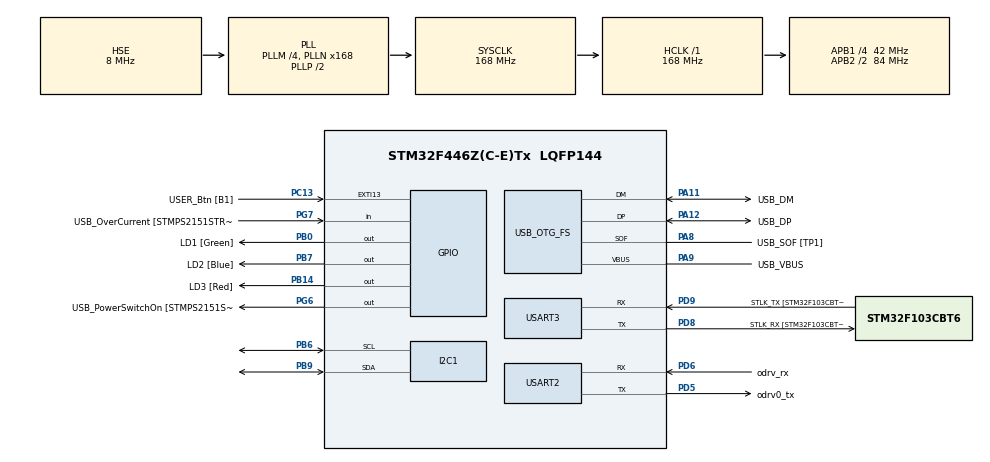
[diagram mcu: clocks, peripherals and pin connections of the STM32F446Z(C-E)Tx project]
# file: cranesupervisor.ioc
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Mcu.Family=STM32F4
NVIC.USART3_IRQn=true\:5\:0\:false\:false\:true\:true\:true\:true
PH0-OSC_IN.Signal=RCC_OSC_IN
Dma.USART3_RX.1.Mode=DMA_CIRCULAR
RCC.CortexFreq_Value=168000000
PG6.Signal=GPIO_Output
NVIC.I2C1_EV_IRQn=true\:5\:0\:false\:false\:true\:true\:true\:true
PB14.GPIO_Label=LD3 [Red]
PG6.GPIO_Label=USB_PowerSwitchOn [STMPS2151STR_EN]
PA14.GPIO_Label=TCK
RCC.SYSCLKSourceVirtual=RCC_SYSCLKSOURCE_PLLCLK
PA11.Mode=Device_Only
PB0.GPIO_Label=LD1 [Green]
PC13.GPIO_Label=USER_Btn [B1]
PD6.GPIO_Label=odrv_rx
PD9.Mode=Asynchronous
RCC.SYSCLKSource=RCC_SYSCLKSOURCE_PLLCLK
ProjectManager.StackSize=0x400
VP_FREERTOS_VS_CMSIS_V2.Mode=CMSIS_V2
PA12.Signal=USB_OTG_FS_DP
Dma.USART3_RX.1.MemInc=DMA_MINC_ENABLE
Dma.USART3_RX.1.Instance=DMA1_Stream1
RCC.HCLKFreq_Value=168000000
RCC.APB2TimFreq_Value=168000000
PB6.Signal=I2C1_SCL
Dma.USART3_RX.1.PeriphDataAlignment=DMA_PDATAALIGN_BYTE
PB6.Mode=I2C
PD8.Signal=USART3_TX
RCC.AHBFreq_Value=168000000
PH0-OSC_IN.Mode=HSE-External-Clock-Source
PH0-OSC_IN.GPIO_Label=MCO [STM32F103CBT6_PA8]
PD5.Mode=Asynchronous
RCC.HSE_VALUE=8000000
FREERTOS.configUSE_TIMERS=1
RCC.PLLMUL=RCC_PLL_MUL9
PC14-OSC32_IN.Mode=LSE-External-Oscillator
FREERTOS.INCLUDE_xQueueGetMutexHolder=1
Dma.USART3_RX.1.Priority=DMA_PRIORITY_LOW
PA14.Mode=Serial_Wire
VP_SYS_VS_tim1.Mode=TIM1
PA10.GPIO_Label=USB_ID
Dma.USART3_TX.0.FIFOMode=DMA_FIFOMODE_DISABLE
PB7.Signal=GPIO_Output
PA8.Signal=USB_OTG_FS_SOF
Dma.USART3_TX.0.Mode=DMA_NORMAL
NVIC.I2C1_ER_IRQn=true\:5\:0\:false\:false\:true\:true\:true\:true
FREERTOS.configTOTAL_HEAP_SIZE=50000
Dma.USART3_TX.0.PeriphInc=DMA_PINC_DISABLE
Dma.USART3_TX.0.MemDataAlignment=DMA_MDATAALIGN_BYTE
PH1-OSC_OUT.Mode=HSE-External-Clock-Source
PB7.GPIO_Label=LD2 [Blue]
PB9.Signal=I2C1_SDA
Mcu.Package=LQFP144
Dma.USART3_RX.1.FIFOMode=DMA_FIFOMODE_DISABLE
NVIC.TimeBase=TIM1_UP_TIM10_IRQn
USART2.VirtualMode=VM_ASYNC
Dma.USART3_RX.1.Direction=DMA_PERIPH_TO_MEMORY
PD5.GPIO_Label=odrv0_tx
NVIC.TimeBaseIP=TIM1
PA10.Signal=USB_OTG_FS_ID
USB_OTG_FS.VirtualMode=Device_Only
Dma.USART3_TX.0.PeriphDataAlignment=DMA_PDATAALIGN_BYTE
RCC.APB2CLKDivider=RCC_HCLK_DIV2
Dma.Request1=USART3_RX
RCC.APB1TimFreq_Value=84000000
PD6.Signal=USART2_RX
Dma.Request0=USART3_TX
PC15-OSC32_OUT.Mode=LSE-External-Oscillator
Dma.USART3_TX.0.Instance=DMA1_Stream3
FREERTOS.Tasks01=defaultTask,16,1500,StartDefaultTask,Default,NULL,Dynamic,NULL,NULL
PG7.Signal=GPIO_Input
PD9.GPIO_Label=STLK_TX [STM32F103CBT6_PA2]
Dma.USART3_TX.0.MemInc=DMA_MINC_ENABLE
PC13.Signal=GPXTI13
PA9.GPIO_Label=USB_VBUS
FREERTOS.INCLUDE_vTaskDelayUntil=1
PA11.GPIO_Label=USB_DM
Dma.USART3_RX.1.MemDataAlignment=DMA_MDATAALIGN_BYTE
PD9.Signal=USART3_RX
PD5.Signal=USART2_TX
NVIC.DMA1_Stream1_IRQn=true\:5\:0\:false\:false\:true\:true\:false\:true
RCC.APB1CLKDivider=RCC_HCLK_DIV4
PC14-OSC32_IN.Signal=RCC_OSC32_IN
PD6.Mode=Asynchronous
Dma.USART3_TX.0.Direction=DMA_MEMORY_TO_PERIPH
NVIC.USART2_IRQn=true\:5\:0\:false\:false\:true\:true\:true\:true
PA12.GPIO_Label=USB_DP
FREERTOS.INCLUDE_uxTaskGetStackHighWaterMark=1
PD8.GPIO_Label=STLK_RX [STM32F103CBT6_PA3]
PA13.Signal=SYS_JTMS-SWDIO
PA9.Mode=Activate_VBUS
PA8.GPIO_Label=USB_SOF [TP1]
ProjectManager.TargetToolchain=Makefile
I2C1.I2C_Mode=I2C_Fast
PB9.Mode=I2C
PA9.Signal=USB_OTG_FS_VBUS
RCC.USBFreq_Value=48000000
PC15-OSC32_OUT.Signal=RCC_OSC32_OUT
PD8.Mode=Asynchronous
PB14.Signal=GPIO_Output
board=NUCLEO-F446ZE
RCC.VCOOutputFreq_Value=336000000
FREERTOS.INCLUDE_eTaskGetState=1
RCC.APB2Freq_Value=84000000
RCC.PRESCALERUSB=RCC_USBCLKSOURCE_PLL_DIV1_5
PG7.GPIO_Label=USB_OverCurrent [STMPS2151STR_FAULT]
PH1-OSC_OUT.Signal=RCC_OSC_OUT
Dma.USART3_TX.0.Priority=DMA_PRIORITY_LOW
PA13.Mode=Serial_Wire
Mcu.Name=STM32F446Z(C-E)Tx
FREERTOS.INCLUDE_xSemaphoreGetMutexHolder=0
PA13.GPIO_Label=TMS
RCC.48MHZClocksFreq_Value=24000000
RCC.SYSCLKFreq_VALUE=168000000
FREERTOS.configUSE_COUNTING_SEMAPHORES=1
PA12.Mode=Device_Only
USART3.VirtualMode=VM_ASYNC
PA11.Signal=USB_OTG_FS_DM
PA14.Signal=SYS_JTCK-SWCLK
ProjectManager.HeapSize=0x200
FREERTOS.configUSE_RECURSIVE_MUTEXES=1
NVIC.TIM1_UP_TIM10_IRQn=true\:0\:0\:false\:false\:true\:false\:false\:true
RCC.HSI_VALUE=16000000
RCC.PLLQ=7
NVIC.PriorityGroup=NVIC_PRIORITYGROUP_4
RCC.PLLM=4
RCC.PLLN=168
NVIC.DMA1_Stream3_IRQn=true\:5\:0\:false\:false\:true\:true\:false\:true
PA8.Mode=Activate_SOF_FS
RCC.APB1Freq_Value=42000000
PB0.Signal=GPIO_Output
Dma.USART3_RX.1.PeriphInc=DMA_PINC_DISABLE

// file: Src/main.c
/* USER CODE BEGIN Header */
/**
  ******************************************************************************
  * @file           : main.c
  * @brief          : Main program body
  ******************************************************************************
  * @attention
  *
  * <h2><center>&copy; Copyright (c) 2020 STMicroelectronics.
  * All rights reserved.</center></h2>
  *
  * This software component is licensed by ST under BSD 3-Clause license,
  * the "License"; You may not use this file except in compliance with the
  * License. You may obtain a copy of the License at:
  *                        opensource.org/licenses/BSD-3-Clause
  *
  ******************************************************************************
  */
/* USER CODE END Header */

#include "main.h"
#include "cmsis_os.h"
#include "stdio.h"
/* USER CODE BEGIN Includes */
#include "FreeRTOS.h"
#include "stm32f4xx_hal.h"
#include "task.h"

/* USER CODE END Includes */

I2C_HandleTypeDef hi2c1;

UART_HandleTypeDef huart2;
UART_HandleTypeDef huart3;
DMA_HandleTypeDef hdma_usart3_tx;
DMA_HandleTypeDef hdma_usart3_rx;

PCD_HandleTypeDef hpcd_USB_OTG_FS;

/* Definitions for defaultTask */
osThreadId_t defaultTaskHandle;
const osThreadAttr_t defaultTask_attributes = {
    .name = "defaultTask",
    .priority = (osPriority_t)osPriorityIdle,
    .stack_size = 128 * 4};

void SystemClock_Config(void);
static void MX_GPIO_Init(void);
static void MX_DMA_Init(void);
static void MX_USART3_UART_Init(void);
static void MX_USB_OTG_FS_PCD_Init(void);
static void MX_I2C1_Init(void);
static void MX_USART2_UART_Init(void);
void StartDefaultTask(void *argument);

/* USER CODE BEGIN PFP */
#define BUFSIZE 4096
char buffer[BUFSIZE];
extern struct netif gnetif;
UART_HandleTypeDef *printf_uart = NULL;
/* USER CODE END PFP */

/* USER CODE BEGIN 0 */
#define USE_SWO_PRINTF_TRACING
int __io_putchar(int ch) {
    uint8_t c[1];
    c[0] = ch & 0x00FF;

#ifdef USE_SWO_PRINTF_TRACING
    ITM_SendChar((char)c[0]);
#else
    if (printf_uart != NULL) {
        HAL_UART_Transmit(printf_uart, &c[0], 1, 10);
    }
#endif

    return ch;
}

int _write(int file, char *ptr, int len) {
    int DataIdx;
    for (DataIdx = 0; DataIdx < len; DataIdx++) {
        __io_putchar(*ptr++);
    }
    return len;
}
/* USER CODE END 0 */

int main(void) {

    /* MCU Configuration--------------------------------------------------------*/

    /* Reset of all peripherals, Initializes the Flash interface and the Systick. */
    HAL_Init();

    /* Configure the system clock */
    SystemClock_Config();

    /* Initialize all configured peripherals */
    MX_GPIO_Init();
    MX_DMA_Init();
    MX_USART3_UART_Init();
    MX_USB_OTG_FS_PCD_Init();
    MX_I2C1_Init();
    MX_USART2_UART_Init();
/* USER CODE BEGIN 2 */
#ifdef MICRO_XRCEDDS_UDP
    printf_uart = &huart3;
#elif defined(MICRO_XRCEDDS_CUSTOM)
    if (!strcmp("3", RMW_UXRCE_DEFAULT_SERIAL_DEVICE)) {
        printf_uart = &huart6;
    } else {
        printf_uart = &huart3;
        // while(1);
    }
#endif
    // TODO: use usb for ros and uart3 for debug
    // printf_uart = &huart3;

    /* USER CODE END 2 */

    /* Init scheduler */
    osKernelInitialize();

    /* Create the thread(s) */
    /* creation of defaultTask */
    defaultTaskHandle = osThreadNew(StartDefaultTask, NULL, &defaultTask_attributes);

    /* USER CODE BEGIN RTOS_THREADS */
    app_starter(NULL, NULL);
    /* USER CODE END RTOS_THREADS */

    /* Start scheduler */
    osKernelStart();

    /* We should never get here as control is now taken by the scheduler */
    /* Infinite loop */
    while (1) {

    }
}

void SystemClock_Config(void) {
    RCC_OscInitTypeDef RCC_OscInitStruct = {0};
    RCC_ClkInitTypeDef RCC_ClkInitStruct = {0};
    RCC_PeriphCLKInitTypeDef PeriphClkInitStruct = {0};

    /** Configure the main internal regulator output voltage
  */
    __HAL_RCC_PWR_CLK_ENABLE();
    __HAL_PWR_VOLTAGESCALING_CONFIG(PWR_REGULATOR_VOLTAGE_SCALE1);
    /** Initializes the CPU, AHB and APB busses clocks
  */
    RCC_OscInitStruct.OscillatorType = RCC_OSCILLATORTYPE_HSE;
    RCC_OscInitStruct.HSEState = RCC_HSE_BYPASS;
    RCC_OscInitStruct.PLL.PLLState = RCC_PLL_ON;
    RCC_OscInitStruct.PLL.PLLSource = RCC_PLLSOURCE_HSE;
    RCC_OscInitStruct.PLL.PLLM = 4;
    RCC_OscInitStruct.PLL.PLLN = 168;
    RCC_OscInitStruct.PLL.PLLP = RCC_PLLP_DIV2;
    RCC_OscInitStruct.PLL.PLLQ = 7;
    RCC_OscInitStruct.PLL.PLLR = 2;
    if (HAL_RCC_OscConfig(&RCC_OscInitStruct) != HAL_OK) {
        Error_Handler();
    }
    /** Initializes the CPU, AHB and APB busses clocks
  */
    RCC_ClkInitStruct.ClockType = RCC_CLOCKTYPE_HCLK | RCC_CLOCKTYPE_SYSCLK | RCC_CLOCKTYPE_PCLK1 | RCC_CLOCKTYPE_PCLK2;
    RCC_ClkInitStruct.SYSCLKSource = RCC_SYSCLKSOURCE_PLLCLK;
    RCC_ClkInitStruct.AHBCLKDivider = RCC_SYSCLK_DIV1;
    RCC_ClkInitStruct.APB1CLKDivider = RCC_HCLK_DIV4;
    RCC_ClkInitStruct.APB2CLKDivider = RCC_HCLK_DIV2;

    if (HAL_RCC_ClockConfig(&RCC_ClkInitStruct, FLASH_LATENCY_5) != HAL_OK) {
        Error_Handler();
    }
    PeriphClkInitStruct.PeriphClockSelection = RCC_PERIPHCLK_CLK48;
    PeriphClkInitStruct.Clk48ClockSelection = RCC_CLK48CLKSOURCE_PLLQ;
    if (HAL_RCCEx_PeriphCLKConfig(&PeriphClkInitStruct) != HAL_OK) {
        Error_Handler();
    }
}

static void MX_I2C1_Init(void) {

    hi2c1.Instance = I2C1;
    hi2c1.Init.ClockSpeed = 400000;
    hi2c1.Init.DutyCycle = I2C_DUTYCYCLE_2;
    hi2c1.Init.OwnAddress1 = 0;
    hi2c1.Init.AddressingMode = I2C_ADDRESSINGMODE_7BIT;
    hi2c1.Init.DualAddressMode = I2C_DUALADDRESS_DISABLE;
    hi2c1.Init.OwnAddress2 = 0;
    hi2c1.Init.GeneralCallMode = I2C_GENERALCALL_DISABLE;
    hi2c1.Init.NoStretchMode = I2C_NOSTRETCH_DISABLE;
    if (HAL_I2C_Init(&hi2c1) != HAL_OK) {
        Error_Handler();
    }
}

static void MX_USART2_UART_Init(void) {

    huart2.Instance = USART2;
    huart2.Init.BaudRate = 115200;
    huart2.Init.WordLength = UART_WORDLENGTH_8B;
    huart2.Init.StopBits = UART_STOPBITS_1;
    huart2.Init.Parity = UART_PARITY_NONE;
    huart2.Init.Mode = UART_MODE_TX_RX;
    huart2.Init.HwFlowCtl = UART_HWCONTROL_NONE;
    huart2.Init.OverSampling = UART_OVERSAMPLING_16;
    if (HAL_UART_Init(&huart2) != HAL_OK) {
        Error_Handler();
    }
}

static void MX_USART3_UART_Init(void) {

    huart3.Instance = USART3;
    huart3.Init.BaudRate = 115200;
    huart3.Init.WordLength = UART_WORDLENGTH_8B;
    huart3.Init.StopBits = UART_STOPBITS_1;
    huart3.Init.Parity = UART_PARITY_NONE;
    huart3.Init.Mode = UART_MODE_TX_RX;
    huart3.Init.HwFlowCtl = UART_HWCONTROL_NONE;
    huart3.Init.OverSampling = UART_OVERSAMPLING_16;
    if (HAL_UART_Init(&huart3) != HAL_OK) {
        Error_Handler();
    }
}

static void MX_USB_OTG_FS_PCD_Init(void) {

    hpcd_USB_OTG_FS.Instance = USB_OTG_FS;
    hpcd_USB_OTG_FS.Init.dev_endpoints = 6;
    hpcd_USB_OTG_FS.Init.speed = PCD_SPEED_FULL;
    hpcd_USB_OTG_FS.Init.dma_enable = DISABLE;
    hpcd_USB_OTG_FS.Init.phy_itface = PCD_PHY_EMBEDDED;
    hpcd_USB_OTG_FS.Init.Sof_enable = ENABLE;
    hpcd_USB_OTG_FS.Init.low_power_enable = DISABLE;
    hpcd_USB_OTG_FS.Init.lpm_enable = DISABLE;
    hpcd_USB_OTG_FS.Init.vbus_sensing_enable = ENABLE;
    hpcd_USB_OTG_FS.Init.use_dedicated_ep1 = DISABLE;
    if (HAL_PCD_Init(&hpcd_USB_OTG_FS) != HAL_OK) {
        Error_Handler();
    }
}

static void MX_DMA_Init(void) {
    /* DMA controller clock enable */
    __HAL_RCC_DMA1_CLK_ENABLE();

    /* DMA interrupt init */
    /* DMA1_Stream1_IRQn interrupt configuration */
    HAL_NVIC_SetPriority(DMA1_Stream1_IRQn, 5, 0);
    HAL_NVIC_EnableIRQ(DMA1_Stream1_IRQn);
    /* DMA1_Stream3_IRQn interrupt configuration */
    HAL_NVIC_SetPriority(DMA1_Stream3_IRQn, 5, 0);
    HAL_NVIC_EnableIRQ(DMA1_Stream3_IRQn);
}

static void MX_GPIO_Init(void) {
    GPIO_InitTypeDef GPIO_InitStruct = {0};

    /* GPIO Ports Clock Enable */
    __HAL_RCC_GPIOC_CLK_ENABLE();
    __HAL_RCC_GPIOH_CLK_ENABLE();
    __HAL_RCC_GPIOB_CLK_ENABLE();
    __HAL_RCC_GPIOD_CLK_ENABLE();
    __HAL_RCC_GPIOG_CLK_ENABLE();
    __HAL_RCC_GPIOA_CLK_ENABLE();

    /*Configure GPIO pin Output Level */
    HAL_GPIO_WritePin(GPIOB, LD1_Pin | LD3_Pin | LD2_Pin, GPIO_PIN_RESET);

    /*Configure GPIO pin Output Level */
    HAL_GPIO_WritePin(USB_PowerSwitchOn_GPIO_Port, USB_PowerSwitchOn_Pin, GPIO_PIN_RESET);

    /*Configure GPIO pin : USER_Btn_Pin */
    GPIO_InitStruct.Pin = USER_Btn_Pin;
    GPIO_InitStruct.Mode = GPIO_MODE_IT_RISING;
    GPIO_InitStruct.Pull = GPIO_NOPULL;
    HAL_GPIO_Init(USER_Btn_GPIO_Port, &GPIO_InitStruct);

    /*Configure GPIO pins : LD1_Pin LD3_Pin LD2_Pin */
    GPIO_InitStruct.Pin = LD1_Pin | LD3_Pin | LD2_Pin;
    GPIO_InitStruct.Mode = GPIO_MODE_OUTPUT_PP;
    GPIO_InitStruct.Pull = GPIO_NOPULL;
    GPIO_InitStruct.Speed = GPIO_SPEED_FREQ_LOW;
    HAL_GPIO_Init(GPIOB, &GPIO_InitStruct);

    /*Configure GPIO pin : USB_PowerSwitchOn_Pin */
    GPIO_InitStruct.Pin = USB_PowerSwitchOn_Pin;
    GPIO_InitStruct.Mode = GPIO_MODE_OUTPUT_PP;
    GPIO_InitStruct.Pull = GPIO_NOPULL;
    GPIO_InitStruct.Speed = GPIO_SPEED_FREQ_LOW;
    HAL_GPIO_Init(USB_PowerSwitchOn_GPIO_Port, &GPIO_InitStruct);

    /*Configure GPIO pin : USB_OverCurrent_Pin */
    GPIO_InitStruct.Pin = USB_OverCurrent_Pin;
    GPIO_InitStruct.Mode = GPIO_MODE_INPUT;
    GPIO_InitStruct.Pull = GPIO_NOPULL;
    HAL_GPIO_Init(USB_OverCurrent_GPIO_Port, &GPIO_InitStruct);
}

void StartDefaultTask(void *argument) {
    /* USER CODE BEGIN 5 */
    /* Print the RTOS Task List */
    char ptrTaskList[500];
    while (1) {
        vTaskList(ptrTaskList);
        printf("**********************************\n");
        printf("Task  State   Prio    Stack    Num\n");
        printf("**********************************\n");
        printf(ptrTaskList);
        printf("**********************************\n");
        vTaskDelay(1000);
    }
    /* USER CODE END 5 */
}

void HAL_TIM_PeriodElapsedCallback(TIM_HandleTypeDef *htim) {
    if (htim->Instance == TIM1) {
        HAL_IncTick();
    }
}

void Error_Handler(void) {
}

/************************ (C) COPYRIGHT STMicroelectronics *****END OF FILE****/
